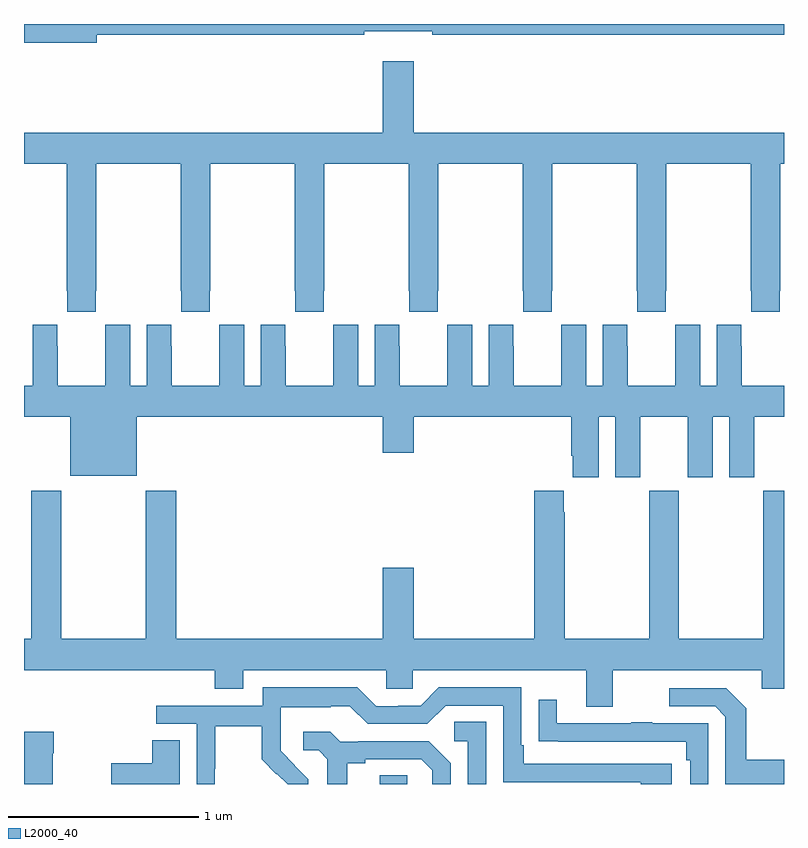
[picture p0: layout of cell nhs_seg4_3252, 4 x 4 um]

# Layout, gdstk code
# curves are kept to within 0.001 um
import gdstk
lib = gdstk.Library(unit=1e-6, precision=1e-09)
def R(c, l, rs):  # rectangles x0, y0, x1, y1
    for r in rs: c.add(gdstk.rectangle(r[:2], r[2:], *l))
def P(c, l, *ps):  # polygons
    for p in ps: c.add(gdstk.Polygon(p, *l))
L2000_40 = (2000, 40)

nhs_seg4_3252 = lib.new_cell('nhs_seg4_3252')
R(nhs_seg4_3252, L2000_40, [(284.873,782.9,285.018,782.945)])
P(nhs_seg4_3252, L2000_40, [(283.384,786.844),(284.792,786.844),(284.792,786.863),(285.148,786.863),(285.148,786.844),(287,786.844),(287,786.9),(283,786.9),(283,786.802),(283.384,786.802)],
  [(285.052,786.703),(284.888,786.703),(284.888,786.328),(283,786.328),(283,786.164),(283.225,786.164),(283.225,785.497),(283.227,785.497),(283.227,785.385),(283.377,785.385),(283.377,785.497),(283.38,785.497),(283.38,786.164),(283.825,786.164),(283.825,785.497),(283.827,785.497),(283.827,785.385),(283.977,785.385),(283.977,785.497),(283.98,785.497),(283.98,786.164),(284.425,786.164),(284.425,785.497),(284.427,785.497),(284.427,785.385),(284.577,785.385),(284.577,785.497),(284.58,785.497),(284.58,786.164),(285.025,786.164),(285.025,785.497),(285.027,785.497),(285.027,785.385),(285.177,785.385),(285.177,785.497),(285.18,785.497),(285.18,786.164),(285.625,786.164),(285.625,785.497),(285.627,785.497),(285.627,785.385),(285.777,785.385),(285.777,785.497),(285.78,785.497),(285.78,786.164),(286.225,786.164),(286.225,785.497),(286.227,785.497),(286.227,785.385),(286.377,785.385),(286.377,785.497),(286.38,785.497),(286.38,786.164),(286.825,786.164),(286.825,785.497),(286.827,785.497),(286.827,785.385),(286.977,785.385),(286.977,785.497),(286.98,785.497),(286.98,786.164),(287,786.164),(287,786.328),(285.052,786.328)],
  [(286.024,784.832),(286.112,784.832),(286.112,784.515),(286.243,784.515),(286.243,784.832),(286.493,784.832),(286.493,784.515),(286.624,784.515),(286.624,784.832),(286.712,784.832),(286.712,784.515),(286.843,784.515),(286.843,784.832),(287,784.832),(287,784.996),(286.777,784.996),(286.777,785.204),(286.776,785.204),(286.776,785.317),(286.646,785.317),(286.646,784.996),(286.558,784.996),(286.558,785.317),(286.428,785.317),(286.428,785.204),(286.427,785.204),(286.427,784.996),(286.177,784.996),(286.177,785.204),(286.176,785.204),(286.176,785.317),(286.046,785.317),(286.046,784.996),(285.958,784.996),(285.958,785.317),(285.828,785.317),(285.828,785.204),(285.827,785.204),(285.827,784.996),(285.577,784.996),(285.577,785.204),(285.576,785.204),(285.576,785.317),(285.446,785.317),(285.446,784.996),(285.358,784.996),(285.358,785.317),(285.228,785.317),(285.228,785.204),(285.227,785.204),(285.227,784.996),(284.977,784.996),(284.977,785.204),(284.976,785.204),(284.976,785.317),(284.846,785.317),(284.846,784.996),(284.758,784.996),(284.758,785.317),(284.628,785.317),(284.628,785.204),(284.627,785.204),(284.627,784.996),(284.377,784.996),(284.377,785.204),(284.376,785.204),(284.376,785.317),(284.246,785.317),(284.246,784.996),(284.158,784.996),(284.158,785.317),(284.028,785.317),(284.028,785.204),(284.027,785.204),(284.027,784.996),(283.777,784.996),(283.777,785.204),(283.776,785.204),(283.776,785.317),(283.646,785.317),(283.646,784.996),(283.558,784.996),(283.558,785.317),(283.428,785.317),(283.428,785.204),(283.427,785.204),(283.427,784.996),(283.177,784.996),(283.177,785.204),(283.176,785.204),(283.176,785.317),(283.046,785.317),(283.046,784.996),(283,784.996),(283,784.832),(283.244,784.832),(283.244,784.523),(283.594,784.523),(283.594,784.832),(284.888,784.832),(284.888,784.644),(285.052,784.644),(285.052,784.832),(285.881,784.832),(285.881,784.627),(285.887,784.627),(285.887,784.515),(286.024,784.515)],
  [(286.099,783.5),(286.883,783.5),(286.883,783.401),(287,783.401),(287,784.444),(286.891,784.444),(286.891,783.664),(286.446,783.664),(286.446,784.444),(286.291,784.444),(286.291,783.664),(285.846,783.664),(285.846,784.331),(285.841,784.331),(285.841,784.444),(285.686,784.444),(285.686,783.664),(285.052,783.664),(285.052,784.039),(284.888,784.039),(284.888,783.664),(283.802,783.664),(283.802,784.444),(283.642,784.444),(283.642,783.664),(283.197,783.664),(283.197,784.444),(283.037,784.444),(283.037,783.664),(283,783.664),(283,783.5),(284.003,783.5),(284.003,783.401),(284.155,783.401),(284.155,783.5),(284.907,783.5),(284.907,783.402),(285.045,783.402),(285.045,783.5),(285.959,783.5),(285.959,783.306),(286.099,783.306)],
  [(284.004,782.98),(284.007,782.98),(284.007,783.204),(284.251,783.204),(284.251,783.029),(284.328,782.952),(284.331,782.955),(284.387,782.9),(284.496,782.9),(284.496,782.926),(284.35,783.074),(284.35,783.171),(284.352,783.171),(284.352,783.305),(284.615,783.305),(284.615,783.309),(284.715,783.309),(284.808,783.216),(285.123,783.216),(285.219,783.312),(285.522,783.312),(285.522,782.91),(286.247,782.91),(286.247,782.9),(286.408,782.9),(286.408,783.006),(285.631,783.006),(285.631,783.103),(285.618,783.103),(285.618,783.408),(285.183,783.408),(285.087,783.312),(284.969,783.312),(284.969,783.309),(284.853,783.309),(284.753,783.409),(284.256,783.409),(284.256,783.312),(283.695,783.312),(283.695,783.216),(283.908,783.216),(283.908,782.9),(284.004,782.9)],
  [(287,783.027),(286.801,783.027),(286.801,783.299),(286.695,783.405),(286.395,783.405),(286.395,783.309),(286.638,783.309),(286.692,783.255),(286.692,782.9),(287,782.9)],
  [(286.602,783.219),(286.307,783.219),(286.307,783.224),(286.195,783.224),(286.195,783.219),(285.805,783.219),(285.805,783.343),(285.709,783.343),(285.709,783.124),(285.811,783.124),(285.811,783.123),(286.486,783.123),(286.486,783.026),(286.506,783.026),(286.506,782.9),(286.602,782.9)],
  [(285.432,783.227),(285.264,783.227),(285.264,783.126),(285.336,783.126),(285.336,782.9),(285.432,782.9)],
  [(283.152,783.062),(283.157,783.062),(283.157,783.175),(283,783.175),(283,782.9),(283.152,782.9)],
  [(284.701,783.008),(284.797,783.008),(284.797,783.03),(285.092,783.03),(285.149,782.973),(285.149,782.9),(285.246,782.9),(285.246,783.01),(285.13,783.126),(284.758,783.126),(284.758,783.123),(284.664,783.123),(284.612,783.175),(284.469,783.175),(284.469,783.078),(284.55,783.078),(284.597,783.031),(284.597,782.9),(284.701,782.9)],
  [(283.819,783.131),(283.676,783.131),(283.676,783.008),(283.458,783.008),(283.458,782.9),(283.819,782.9)])

lib.write_gds('nhs_seg4_3252.gds')
